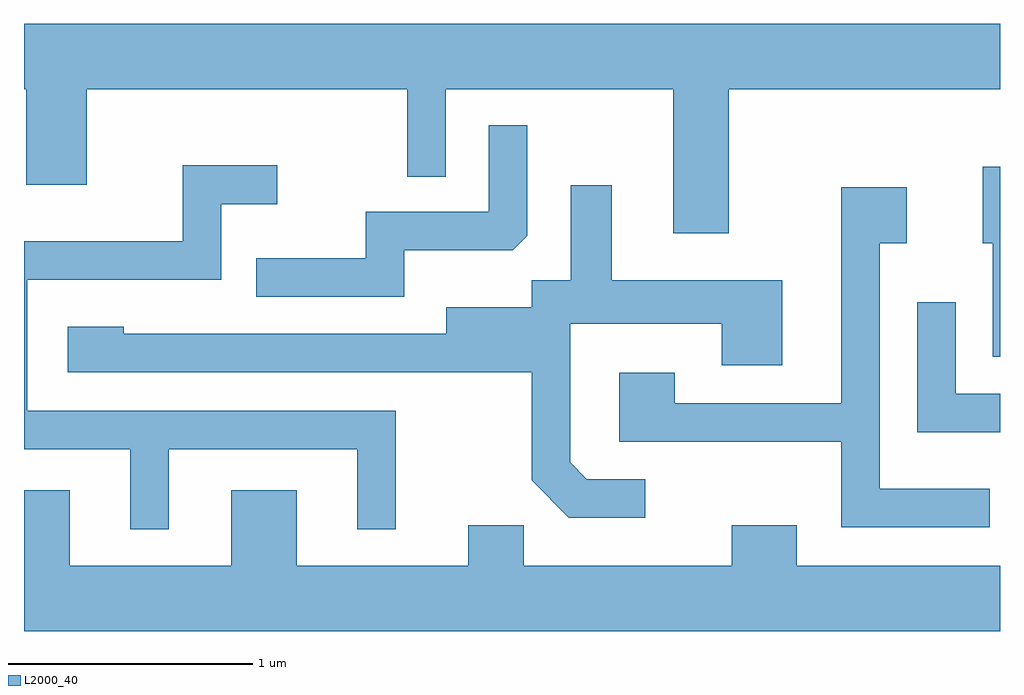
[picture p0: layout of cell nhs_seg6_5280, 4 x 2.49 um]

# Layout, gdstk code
import gdstk
lib = gdstk.Library(unit=1e-6, precision=1e-09)
def P(c, l, *ps):  # polygons
    for p in ps: c.add(gdstk.Polygon(p, *l))
L2000_40 = (2000, 40)

nhs_seg6_5280 = lib.new_cell('nhs_seg6_5280')
P(nhs_seg6_5280, L2000_40, [(348.499,1627.736),(349.611,1627.736),(349.611,1628.004),(345.611,1628.004),(345.611,1627.736),(345.621,1627.736),(345.621,1627.346),(345.869,1627.346),(345.869,1627.736),(347.181,1627.736),(347.181,1627.378),(347.339,1627.378),(347.339,1627.736),(348.271,1627.736),(348.271,1627.146),(348.499,1627.146)],
  [(347.169,1627.076),(347.614,1627.076),(347.674,1627.137),(347.674,1627.588),(347.516,1627.588),(347.516,1627.234),(347.011,1627.234),(347.011,1627.044),(346.563,1627.044),(346.563,1626.886),(347.169,1626.886)],
  [(346.204,1626.261),(346.976,1626.261),(346.976,1625.933),(347.134,1625.933),(347.134,1626.419),(345.624,1626.419),(345.624,1626.956),(346.419,1626.956),(346.419,1627.266),(346.648,1627.266),(346.648,1627.424),(346.261,1627.424),(346.261,1627.114),(345.611,1627.114),(345.611,1626.261),(346.046,1626.261),(346.046,1625.933),(346.204,1625.933)],
  [(349.611,1627.419),(349.541,1627.419),(349.541,1627.106),(349.581,1627.106),(349.581,1626.641),(349.611,1626.641)],
  [(348.158,1626.139),(347.917,1626.139),(347.849,1626.207),(347.849,1626.776),(348.471,1626.776),(348.471,1626.606),(348.719,1626.606),(348.719,1626.954),(348.019,1626.954),(348.019,1627.343),(347.851,1627.343),(347.851,1626.954),(347.691,1626.954),(347.691,1626.844),(347.341,1626.844),(347.341,1626.734),(346.019,1626.734),(346.019,1626.764),(345.791,1626.764),(345.791,1626.576),(347.691,1626.576),(347.691,1626.134),(347.844,1625.981),(348.158,1625.981)],
  [(349.568,1626.099),(349.119,1626.099),(349.119,1627.106),(349.229,1627.106),(349.229,1627.334),(348.961,1627.334),(348.961,1626.449),(348.279,1626.449),(348.279,1626.574),(348.051,1626.574),(348.051,1626.291),(348.961,1626.291),(348.961,1625.941),(349.568,1625.941)],
  [(349.611,1626.489),(349.429,1626.489),(349.429,1626.863),(349.271,1626.863),(349.271,1626.331),(349.611,1626.331)],
  [(349.611,1625.784),(348.779,1625.784),(348.779,1625.949),(348.511,1625.949),(348.511,1625.784),(347.659,1625.784),(347.659,1625.949),(347.431,1625.949),(347.431,1625.784),(346.729,1625.784),(346.729,1626.094),(346.461,1626.094),(346.461,1625.784),(345.799,1625.784),(345.799,1626.094),(345.611,1626.094),(345.611,1625.516),(349.611,1625.516)])

lib.write_gds('nhs_seg6_5280.gds')
